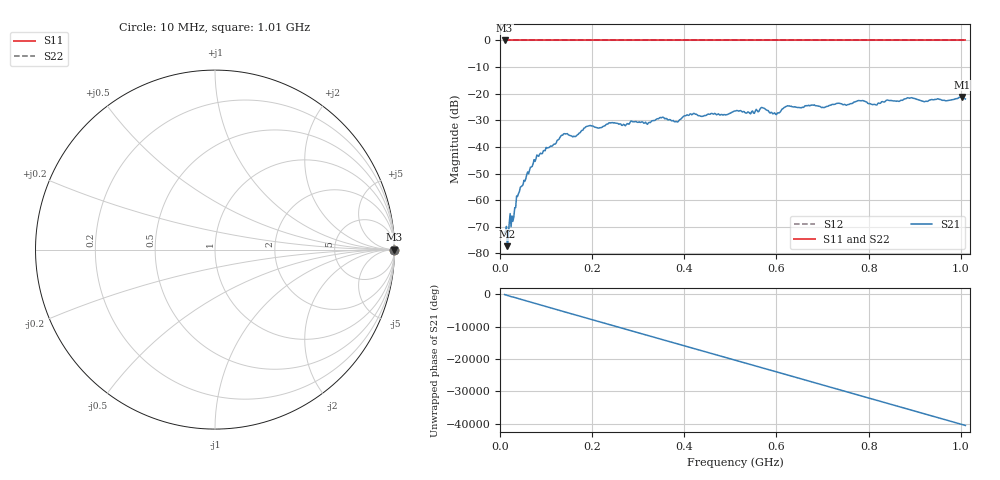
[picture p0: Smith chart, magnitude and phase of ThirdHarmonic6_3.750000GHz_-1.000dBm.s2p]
! 8/17/2025 12:51:38 PM
! C:\ANRITSUVNA\TEMP\TEMP.S2P
! CHANNEL.1
! TR.MEASUREMENT
! RAW.DATA
! RF.CORRECTION.OFF
! AVERAGING.OFF
! IF.BANDWIDTH: 5KHZ
! SWEEPTYPE:  FREQ.SWEEP(Linear)
! Reference Plane Port Info
! PORT:  PORT1  PORT2
! DISTANCE:  0  m  0  m
! TIME:  0  s  0  s
! PHASE.OFFSET:  0  deg.  0  deg.
! LOSS:  0  dB  0  dB
! REF.LOSS:  0  dB  0  dB
! REF.FREQ:  0  Hz  0  Hz
! Power Info
! POWER:  -20  dBm  -20  dBm
! EFF.POWER:  -20  dBm  -20  dBm
! SOURCE.ATTEN:  0  dB  0  dB
! TEST.ATTEN:  0  dB  0  dB
# GHZ S RI R 50.0
! FREQ.GHZ  S11RE  S11IM  S21RE  S21IM  S12RE  S12IM  S22RE  S22IM
!; PortSelection: Port_12
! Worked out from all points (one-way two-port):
!   501 points, 10 MHz to 1.01 GHz, reference 50 ohm
!   highest |S21| = -21.20 dB at 1.002 GHz (marker M1); lowest = -77.3 dB at 16 MHz (marker M2)
!   lowest |S11| = 0.0 dB at 10 MHz (marker M3)
!   |S11| at or under -10 dB: nowhere
!   |S22| runs from 0.0 to 0.0 dB; largest |S21 - S12| = 1.1
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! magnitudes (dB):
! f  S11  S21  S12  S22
! 10 MHz  0.0  -71.9  0.0  0.0
! 16 MHz  0.0  -77.3  0.0  0.0
! 28 MHz  0.0  -67.9  0.0  0.0
! 40 MHz  0.0  -57.6  0.0  0.0
! 78 MHz  0.0  -44.5  0.0  0.0
! 136 MHz  0.0  -35.6  0.0  0.0
! 162 MHz  0.0  -36.1  0.0  0.0
! 178 MHz  0.0  -33.8  0.0  0.0
! 192 MHz  0.0  -32.1  0.0  0.0
! 322 MHz  0.0  -31.0  0.0  0.0
! 344 MHz  0.0  -29.4  0.0  0.0
! 382 MHz  0.0  -30.4  0.0  0.0
! 416 MHz  0.0  -27.9  0.0  0.0
! 510 MHz  0.0  -26.5  0.0  0.0
! 548 MHz  0.0  -26.5  0.0  0.0
! 570 MHz  0.0  -25.3  0.0  0.0
! 596 MHz  0.0  -27.2  0.0  0.0
! 624 MHz  0.0  -24.5  0.0  0.0
! 678 MHz  0.0  -24.3  0.0  0.0
! 844 MHz  0.0  -22.5  0.0  0.0
! 1.002 GHz  0.0  -21.2  0.0  0.0
! 1.01 GHz  0.0  -22.0  0.0  0.0
